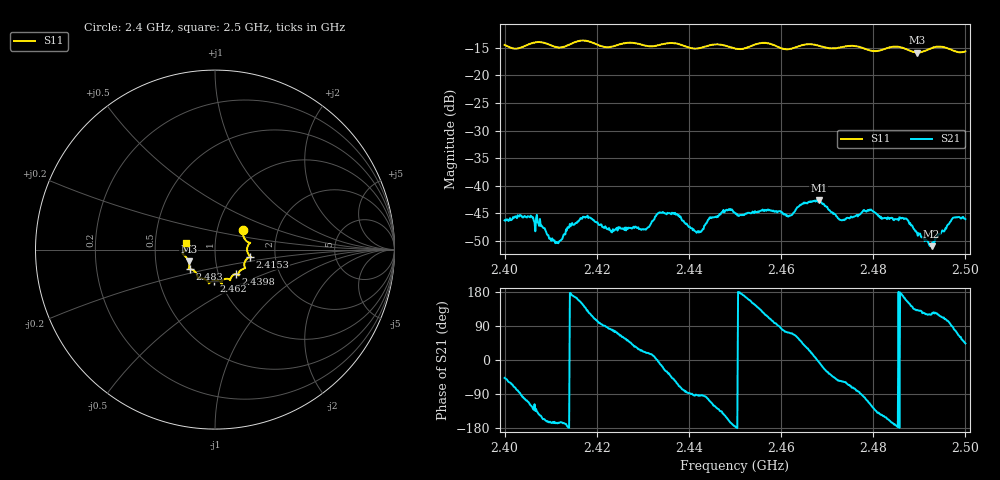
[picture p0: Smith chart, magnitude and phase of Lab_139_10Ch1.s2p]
# Hz S RI R 50
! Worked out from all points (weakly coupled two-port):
!   601 points, 2.4 GHz to 2.5 GHz, reference 50 ohm
!   highest |S21| = -42.62 dB at 2.4682 GHz (marker M1); lowest = -50.9 dB at 2.4927 GHz (marker M2)
!   lowest |S11| = -15.9 dB at 2.4895 GHz (marker M3), VSWR 1.38, Z = 36.9 - j5 ohm
!   |S11| at or under -10 dB: start of sweep to end of sweep
!   S12 and S22 are empty: the file has one direction only
!   S11 on the Smith chart (normalised r, x): 2.4 GHz: 1.33, +0.29; 2.4153 GHz: 1.48, -0.12; 2.4398 GHz: 1.21, -0.34; 2.462 GHz: 0.93, -0.33; 2.483 GHz: 0.74, -0.17; 2.5 GHz: 0.72, +0.06
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2.4e9  0.1552 0.1066  0.0033 -0.00357  0 0  0 0
2.405667e9  0.1896 0.0387  -0.00267 -0.00465  0 0  0 0
2.4115e9  0.1789 0.00668  -0.00301 -0.000678  0 0  0 0
2.415333e9  0.1963 -0.0385  -0.00442 0.00112  0 0  0 0
2.416667e9  0.202 -0.0424  -0.00438 0.00246  0 0  0 0
2.430167e9  0.1512 -0.1107  0.00372 0.00151  0 0  0 0
2.433333e9  0.1311 -0.1334  0.00563 -0.000458  0 0  0 0
2.439833e9  0.1155 -0.1366  0.00025 -0.0043  0 0  0 0
2.442167e9  0.0946 -0.1482  -0.000292 -0.00376  0 0  0 0
2.45e9  0.0645 -0.1625  -0.00564 -0.000521  0 0  0 0
2.462e9  -0.00491 -0.1732  0.00178 0.00507  0 0  0 0
2.466667e9  -0.0342 -0.1878  0.00687 0.00222  0 0  0 0
2.468167e9  -0.0362 -0.1816  0.00737 -0.00061  0 0  0 0
2.473167e9  -0.0813 -0.1606  0.00267 -0.00406  0 0  0 0
2.479167e9  -0.1042 -0.1323  -0.00245 -0.00557  0 0  0 0
2.483e9  -0.1377 -0.1097  -0.00452 -0.00209  0 0  0 0
2.483333e9  -0.1404 -0.1096  -0.0047 -0.00198  0 0  0 0
2.487e9  -0.1436 -0.0972  -0.00473 0.00175  0 0  0 0
2.4895e9  -0.1465 -0.066  -0.00251 0.00277  0 0  0 0
2.492667e9  -0.1738 -0.0293  -0.00145 0.00244  0 0  0 0
2.4975e9  -0.1666 -0.000949  0.000772 0.0051  0 0  0 0
2.5e9  -0.1598 0.0391  0.00359 0.00346  0 0  0 0
